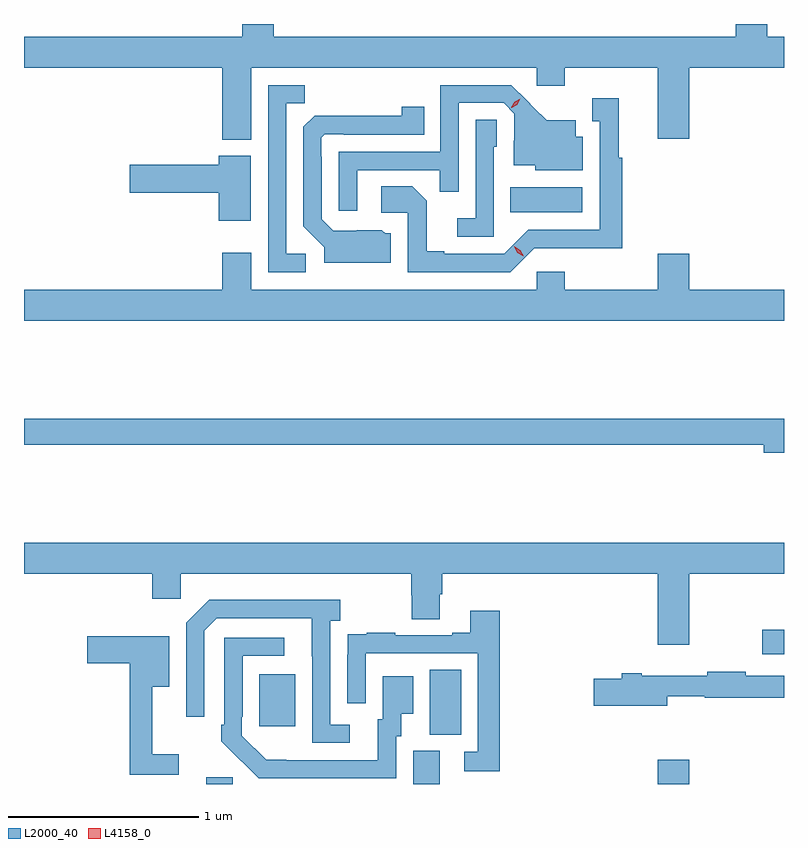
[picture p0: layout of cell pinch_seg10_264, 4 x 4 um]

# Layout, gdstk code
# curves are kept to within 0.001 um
import gdstk
lib = gdstk.Library(unit=1e-6, precision=1e-09)
def R(c, l, rs):  # rectangles x0, y0, x1, y1
    for r in rs: c.add(gdstk.rectangle(r[:2], r[2:], *l))
def P(c, l, *ps):  # polygons
    for p in ps: c.add(gdstk.Polygon(p, *l))
L2000_40 = (2000, 40)
L4158_0 = (4158, 0)

pinch_seg10_264 = lib.new_cell('pinch_seg10_264')
R(pinch_seg10_264, L2000_40, [(510.284,1291.218,510.423,1291.254), (511.373,1291.218,511.513,1291.392), (512.66,1291.218,512.824,1291.345), (511.46,1291.477,511.624,1291.82), (510.563,1291.521,510.751,1291.795), (513.21,1291.901,513.324,1292.031), (511.882,1294.226,512.263,1294.36)])
P(pinch_seg10_264, L2000_40, [(510.52,1294.988),(512.022,1294.988),(512.022,1294.893),(512.169,1294.893),(512.169,1294.988),(512.66,1294.988),(512.66,1294.614),(512.824,1294.614),(512.824,1294.988),(513.324,1294.988),(513.324,1295.152),(513.236,1295.152),(513.236,1295.218),(513.071,1295.218),(513.071,1295.152),(510.638,1295.152),(510.638,1295.218),(510.473,1295.218),(510.473,1295.152),(509.324,1295.152),(509.324,1294.988),(510.368,1294.988),(510.368,1294.61),(510.52,1294.61)],
  [(511.077,1294.449),(511.513,1294.449),(511.513,1294.336),(511.611,1294.336),(511.611,1294.803),(511.848,1294.803),(511.905,1294.746),(511.905,1294.604),(511.901,1294.604),(511.901,1294.475),(512.016,1294.475),(512.016,1294.448),(512.266,1294.448),(512.266,1294.624),(512.227,1294.624),(512.227,1294.711),(512.075,1294.711),(511.888,1294.896),(511.515,1294.896),(511.515,1294.545),(510.981,1294.545),(510.981,1294.236),(511.077,1294.236)],
  [(510.808,1294.008),(510.705,1294.008),(510.705,1294.801),(510.801,1294.801),(510.801,1294.896),(510.609,1294.896),(510.609,1293.912),(510.808,1293.912)],
  [(512.01,1294.038),(512.472,1294.037),(512.472,1294.515),(512.455,1294.515),(512.455,1294.828),(512.315,1294.828),(512.315,1294.707),(512.354,1294.707),(512.354,1294.134),(511.977,1294.134),(511.851,1294.008),(511.537,1294.008),(511.537,1294.021),(511.443,1294.021),(511.443,1294.288),(511.367,1294.364),(511.203,1294.364),(511.203,1294.224),(511.344,1294.224),(511.344,1293.912),(511.884,1293.912)],
  [(511.255,1294.116),(511.224,1294.116),(511.208,1294.132),(510.951,1294.131),(510.891,1294.191),(510.891,1294.52),(510.888,1294.52),(510.888,1294.62),(510.906,1294.638),(511.006,1294.638),(511.006,1294.635),(511.43,1294.635),(511.43,1294.783),(511.312,1294.783),(511.312,1294.736),(510.854,1294.735),(510.795,1294.676),(510.795,1294.154),(510.905,1294.044),(510.905,1293.962),(511.255,1293.962)],
  [(511.797,1294.572),(511.812,1294.572),(511.812,1294.715),(511.701,1294.715),(511.701,1294.195),(511.605,1294.195),(511.605,1294.098),(511.797,1294.098)],
  [(510.517,1294.525),(510.35,1294.525),(510.35,1294.478),(509.88,1294.478),(509.88,1294.331),(510.35,1294.331),(510.35,1294.182),(510.517,1294.182)],
  [(513.324,1293.82),(512.824,1293.82),(512.824,1294.009),(512.66,1294.009),(512.66,1293.82),(512.169,1293.82),(512.169,1293.913),(512.022,1293.913),(512.022,1293.82),(510.52,1293.82),(510.52,1294.015),(510.368,1294.015),(510.368,1293.82),(509.324,1293.82),(509.324,1293.656),(513.324,1293.656)],
  [(513.324,1293.14),(509.324,1293.14),(509.324,1293.004),(513.218,1293.004),(513.218,1292.962),(513.324,1292.962)],
  [(512.824,1292.324),(513.324,1292.324),(513.324,1292.488),(509.324,1292.488),(509.324,1292.324),(509.999,1292.324),(509.999,1292.193),(510.15,1292.193),(510.15,1292.324),(511.361,1292.324),(511.361,1292.211),(511.366,1292.211),(511.366,1292.086),(511.513,1292.086),(511.513,1292.218),(511.526,1292.218),(511.526,1292.324),(512.66,1292.324),(512.66,1291.95),(512.824,1291.95)],
  [(511.039,1291.53),(510.936,1291.53),(510.936,1292.078),(510.988,1292.078),(510.988,1292.188),(510.298,1292.188),(510.177,1292.067),(510.177,1291.572),(510.273,1291.572),(510.273,1292.025),(510.339,1292.091),(510.839,1292.091),(510.84,1291.434),(511.039,1291.434)],
  [(511.829,1292.131),(511.673,1292.131),(511.673,1292.014),(511.577,1292.014),(511.577,1292.001),(511.277,1292.001),(511.277,1292.014),(511.129,1292.014),(511.129,1292.007),(511.027,1292.007),(511.027,1291.898),(511.026,1291.898),(511.026,1291.644),(511.122,1291.644),(511.122,1291.905),(511.713,1291.905),(511.713,1291.389),(511.641,1291.389),(511.641,1291.284),(511.829,1291.284)],
  [(510.139,1291.375),(509.999,1291.375),(509.999,1291.73),(510.088,1291.73),(510.088,1291.995),(509.658,1291.995),(509.658,1291.853),(509.881,1291.853),(509.881,1291.266),(510.139,1291.266)],
  [(511.284,1291.47),(511.309,1291.47),(511.309,1291.589),(511.372,1291.589),(511.372,1291.786),(511.211,1291.786),(511.211,1291.56),(511.187,1291.56),(511.187,1291.344),(510.6,1291.345),(510.471,1291.473),(510.471,1291.573),(510.474,1291.573),(510.474,1291.893),(510.694,1291.893),(510.694,1291.989),(510.378,1291.989),(510.378,1291.531),(510.363,1291.531),(510.363,1291.443),(510.56,1291.248),(511.284,1291.248)],
  [(512.71,1291.68),(512.906,1291.68),(512.906,1291.672),(513.324,1291.672),(513.324,1291.788),(513.122,1291.788),(513.122,1291.808),(512.92,1291.808),(512.92,1291.789),(512.575,1291.789),(512.575,1291.802),(512.471,1291.802),(512.471,1291.772),(512.322,1291.772),(512.322,1291.63),(512.71,1291.63)])
P(pinch_seg10_264, L4158_0, [(511.953,1293.996),(511.921,1294.014),(511.903,1294.047),(511.903,1294.047),(511.904,1294.047),(511.935,1294.028),(511.953,1293.996),(511.953,1293.996)],
  [(511.889,1294.778),(511.889,1294.779),(511.906,1294.808),(511.936,1294.824),(511.936,1294.824),(511.936,1294.824),(511.92,1294.794),(511.89,1294.778)])

lib.write_gds('pinch_seg10_264.gds')
